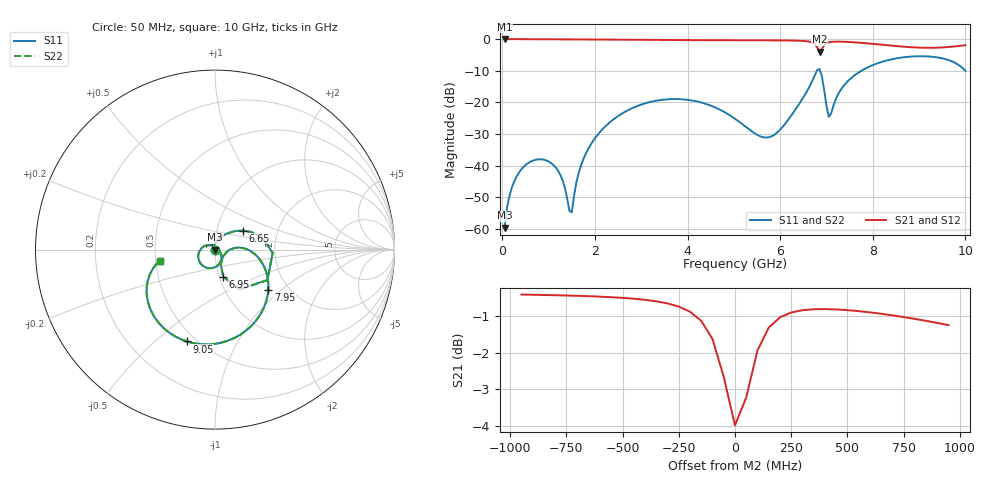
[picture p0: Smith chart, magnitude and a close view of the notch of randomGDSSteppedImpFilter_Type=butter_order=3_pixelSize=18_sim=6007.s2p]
! freq	dB(S11)	phase(S11)	dB(S12)	phase(S12)
!  dB(S21)	phase(S21)	dB(S22)	phase(S22)
!S-par simulation data
#  GHz  S  DB  R 50
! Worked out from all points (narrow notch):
!   200 points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, 50 MHz to 10 GHz, reference 50 ohm
!   highest |S21| = 0.00 dB at 50 MHz (marker M1); lowest = -4.0 dB at 6.85 GHz (marker M2)
!   notch at M2: 3.6 dB deep, 164 MHz wide at half that depth
!   lowest |S11| = -59.6 dB at 50 MHz (marker M3), VSWR 1.00, Z = 50 - j0.104 ohm
!   |S11| at or under -10 dB: start of sweep to 6.795 GHz; 6.862 GHz to 7.758 GHz (895.1 MHz wide, 12.2 % of centre); 9.996992 GHz to end of sweep
!   |S22| runs from -59.6 to -5.4 dB; largest |S21 - S12| = 0
!   S11 on the Smith chart (normalised r, x): 50 MHz: 1.00, -0.00; 6.65 GHz: 1.33, +0.29; 6.95 GHz: 1.05, -0.32; 7.95 GHz: 1.58, -0.83; 9.05 GHz: 0.45, -0.64; 10 GHz: 0.53, -0.07
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0.05  -59.63 -86.1  -0.00 -2.9  -0.00 -2.9  -59.63 -86.0
0.15  -49.84 -93.4  -0.01 -8.7  -0.01 -8.7  -49.84 -93.4
0.3  -43.70 -103.7  -0.03 -17.4  -0.03 -17.4  -43.70 -103.6
0.75  -38.08 -134.8  -0.06 -43.4  -0.06 -43.4  -38.08 -134.5
1.2  -41.53 -167.1  -0.08 -69.4  -0.08 -69.4  -41.54 -166.0
1.5  -54.80 63.2  -0.10 -86.8  -0.10 -86.8  -55.83 59.3
1.75  -38.00 -3.6  -0.12 -101.3  -0.12 -101.3  -38.03 -5.0
2.65  -23.00 -62.1  -0.20 -154.0  -0.20 -154.0  -23.00 -62.6
3.4  -19.30 -106.9  -0.29 161.7  -0.29 161.7  -19.31 -107.4
4.3  -20.07 -160.1  -0.35 107.9  -0.35 107.9  -20.08 -160.8
5.05  -25.45 154.4  -0.36 61.9  -0.36 61.9  -25.46 152.9
5.8  -30.84 103.1  -0.40 14.1  -0.40 14.1  -30.82 100.1
6.65  -14.56 34.6  -0.88 -47.0  -0.88 -47.0  -14.55 34.1
6.7  -13.04 26.4  -1.13 -51.9  -1.13 -51.9  -13.03 26.0
6.85  -9.44 -30.1  -3.99 -55.8  -3.99 -55.8  -9.42 -30.3
6.95  -16.05 -72.9  -1.94 -48.5  -1.94 -48.5  -16.02 -73.0
7.05  -24.62 -40.7  -1.03 -59.0  -1.03 -59.0  -24.52 -41.0
7.4  -14.27 -1.5  -0.86 -88.1  -0.86 -88.1  -14.27 -1.8
7.95  -8.55 -37.4  -1.44 -127.9  -1.44 -127.9  -8.55 -37.5
8.35  -6.59 -63.6  -2.00 -155.2  -2.00 -155.2  -6.59 -63.7
9.05  -5.43 -107.1  -2.72 159.3  -2.72 159.3  -5.43 -107.1
10  -10.04 -168.5  -1.94 89.8  -1.94 89.8  -10.05 -168.6
